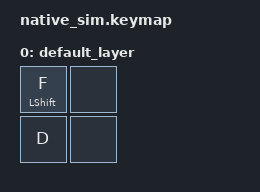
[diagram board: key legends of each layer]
#include <dt-bindings/zmk/keys.h>
#include <behaviors.dtsi>
#include <dt-bindings/zmk/input_mock.h>

/ {
    behaviors {
        hp: behavior_hold_preferred {
            compatible = "zmk,behavior-hold-tap";
            #binding-cells = <2>;
            flavor = "hold-preferred";
            tapping-term-ms = <300>;
            bindings = <&kp>, <&kp>;
            retro-tap;
        };
    };

    keymap {
        compatible = "zmk,keymap";

        default_layer {
            bindings = <
                &hp LEFT_SHIFT F &none
                &kp D &none>;
        };
    };
};


&mock_input {
    events = <
        /* tap */
        ZMK_INPUT_MOCK_PRESS(0,0,10)
        ZMK_INPUT_MOCK_RELEASE(0,0,10)
        /* retro tap */
        ZMK_INPUT_MOCK_PRESS(0,0,400)
        ZMK_INPUT_MOCK_RELEASE(0,0,10)
        /* hold  */
        ZMK_INPUT_MOCK_PRESS(0,0,400)
        ZMK_INPUT_MOCK_PRESS(1,0,10)
        ZMK_INPUT_MOCK_RELEASE(1,0,10)
        ZMK_INPUT_MOCK_RELEASE(0,0,10)
    >;
};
